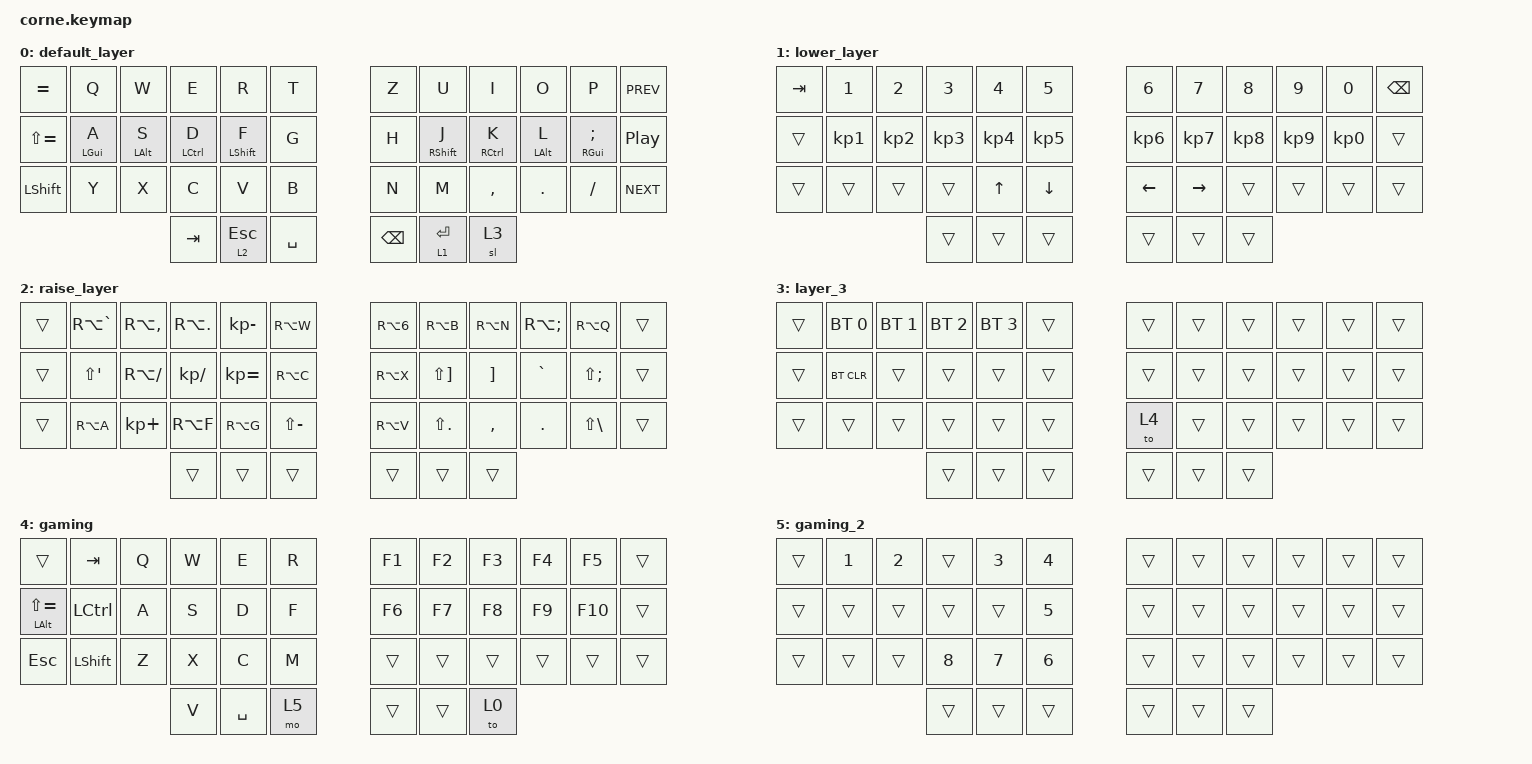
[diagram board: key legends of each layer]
/*
 * Copyright (c) 2020 The ZMK Contributors
 *
 * SPDX-License-Identifier: MIT
 */

#include <behaviors.dtsi>
#include <dt-bindings/zmk/bt.h>
#include <dt-bindings/zmk/keys.h>

/ {
    behaviors {
        hm: homerow_mods {
            compatible = "zmk,behavior-hold-tap";
            label = "HOMEROW_MODS";
            #binding-cells = <2>;
            tapping-term-ms = <200>;
            quick-tap-ms = <0>;
            flavor = "tap-preferred";
            bindings = <&kp>, <&kp>;

            quick-tap-ms = <180>;
            global-quick-tap;
        };

        ltq: ltq {
            compatible = "zmk,behavior-hold-tap";
            label = "LTQ";
            bindings = <&mo>, <&kp>;

            #binding-cells = <2>;
            tapping-term-ms = <600>;
            global-quick-tap;
            quick-tap-ms = <400>;
        };
    };

    combos { compatible = "zmk,combos"; };

    keymap {
        compatible = "zmk,keymap";

        default_layer {
            bindings = <
&kp EQUAL      &kp Q           &kp W           &kp E        &kp R             &kp T      &kp Z          &kp U         &kp I        &kp O           &kp P               &kp C_PREV
&kp LS(EQUAL)  &hm LEFT_GUI A  &hm LEFT_ALT S  &hm LCTRL D  &hm LEFT_SHIFT F  &kp G      &kp H          &hm RSHIFT J  &hm RCTRL K  &hm LEFT_ALT L  &hm RGUI SEMICOLON  &kp C_PLAY_PAUSE
&kp LSHFT      &kp Y           &kp X           &kp C        &kp V             &kp B      &kp N          &kp M         &kp COMMA    &kp DOT         &kp FSLH            &kp C_NEXT
                                               &kp TAB      &lt 2 ESCAPE      &kp SPACE  &kp BACKSPACE  &lt 1 ENTER   &sl 3
            >;
        };

        lower_layer {
            bindings = <
&kp TAB  &kp N1           &kp N2           &kp N3           &kp N4           &kp N5           &kp N6           &kp N7           &kp N8           &kp N9           &kp N0           &kp BSPC
&trans   &kp KP_NUMBER_1  &kp KP_NUMBER_2  &kp KP_NUMBER_3  &kp KP_NUMBER_4  &kp KP_NUMBER_5  &kp KP_NUMBER_6  &kp KP_NUMBER_7  &kp KP_NUMBER_8  &kp KP_NUMBER_9  &kp KP_NUMBER_0  &trans
&trans   &trans           &trans           &trans           &kp UP_ARROW     &kp DOWN_ARROW   &kp LEFT_ARROW   &kp RIGHT_ARROW  &trans           &trans           &trans           &trans
                                           &trans           &trans           &trans           &trans           &trans           &trans
            >;
        };

        raise_layer {
            bindings = <
&trans  &kp RA(GRAVE)         &kp RA(COMMA)  &kp RA(DOT)   &kp KP_MINUS  &kp RA(W)      &kp RA(NUMBER_6)  &kp RA(B)              &kp RA(N)          &kp RA(SEMICOLON)  &kp RA(Q)          &trans
&trans  &kp LS(SINGLE_QUOTE)  &kp RA(SLASH)  &kp KP_SLASH  &kp KP_EQUAL  &kp RA(C)      &kp RA(X)         &kp LS(RIGHT_BRACKET)  &kp RIGHT_BRACKET  &kp GRAVE          &kp LS(SEMI)       &trans
&trans  &kp RA(A)             &kp KP_PLUS    &kp RA(F)     &kp RA(G)     &kp LS(MINUS)  &kp RA(V)         &kp LS(DOT)            &kp COMMA          &kp DOT            &kp LS(BACKSLASH)  &trans
                                             &trans        &trans        &trans         &trans            &trans                 &trans
            >;
        };

        layer_3 {
            bindings = <
&trans  &bt BT_SEL 0  &bt BT_SEL 1  &bt BT_SEL 2  &bt BT_SEL 3  &trans  &trans  &trans  &trans  &trans  &trans  &trans
&trans  &bt BT_CLR    &trans        &trans        &trans        &trans  &trans  &trans  &trans  &trans  &trans  &trans
&trans  &trans        &trans        &trans        &trans        &trans  &to 4   &trans  &trans  &trans  &trans  &trans
                                    &trans        &trans        &trans  &trans  &trans  &trans
            >;
        };

        gaming {
            bindings = <
&trans                  &kp TAB         &kp Q  &kp W  &kp E      &kp R  &kp F1  &kp F2  &kp F3  &kp F4  &kp F5   &trans
&hm LEFT_ALT LS(EQUAL)  &kp LCTRL       &kp A  &kp S  &kp D      &kp F  &kp F6  &kp F7  &kp F8  &kp F9  &kp F10  &trans
&kp ESCAPE              &kp LEFT_SHIFT  &kp Z  &kp X  &kp C      &kp M  &trans  &trans  &trans  &trans  &trans   &trans
                                               &kp V  &kp SPACE  &mo 5  &trans  &trans  &to 0
            >;
        };

        gaming_2 {
            bindings = <
&trans  &kp NUMBER_1  &kp NUMBER_2  &trans  &kp NUMBER_3  &kp NUMBER_4  &trans  &trans  &trans  &trans  &trans  &trans
&trans  &trans        &trans        &trans  &trans        &kp NUMBER_5  &trans  &trans  &trans  &trans  &trans  &trans
&trans  &trans        &trans        &kp N8  &kp N7        &kp NUMBER_6  &trans  &trans  &trans  &trans  &trans  &trans
                                    &trans  &trans        &trans        &trans  &trans  &trans
            >;
        };
    };
};
